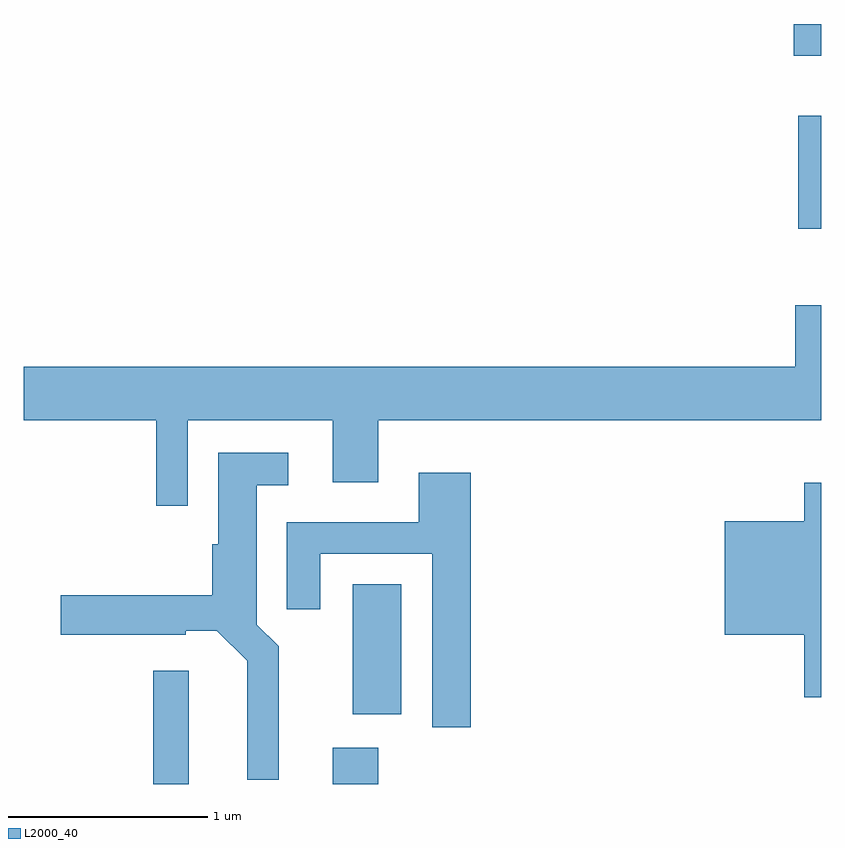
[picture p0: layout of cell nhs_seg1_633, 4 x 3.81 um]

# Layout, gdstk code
import gdstk
lib = gdstk.Library(unit=1e-6, precision=1e-09)
def R(c, l, rs):  # rectangles x0, y0, x1, y1
    for r in rs: c.add(gdstk.rectangle(r[:2], r[2:], *l))
def P(c, l, *ps):  # polygons
    for p in ps: c.add(gdstk.Polygon(p, *l))
L2000_40 = (2000, 40)

nhs_seg1_633 = lib.new_cell('nhs_seg1_633')
R(nhs_seg1_633, L2000_40, [(204.261,937.712,204.439,938.279), (205.161,937.712,205.389,937.894), (205.261,938.061,205.504,938.714), (207.496,940.496,207.611,941.064), (207.473,941.366,207.611,941.524)])
P(nhs_seg1_633, L2000_40, [(204.434,939.536),(205.161,939.536),(205.161,939.226),(205.389,939.226),(205.389,939.536),(207.611,939.536),(207.611,940.114),(207.481,940.114),(207.481,939.804),(203.611,939.804),(203.611,939.536),(204.276,939.536),(204.276,939.108),(204.434,939.108)],
  [(204.889,938.402),(204.779,938.512),(204.779,939.211),(204.938,939.211),(204.938,939.374),(204.586,939.374),(204.586,938.914),(204.556,938.914),(204.556,938.659),(203.796,938.659),(203.796,938.461),(204.424,938.461),(204.424,938.481),(204.579,938.481),(204.731,938.329),(204.731,937.733),(204.889,937.733)],
  [(205.854,939.274),(205.591,939.274),(205.591,939.024),(204.931,939.024),(204.931,938.588),(205.099,938.588),(205.099,938.866),(205.661,938.866),(205.661,937.996),(205.854,937.996)],
  [(207.611,939.224),(207.526,939.224),(207.526,939.029),(207.126,939.029),(207.126,938.461),(207.526,938.461),(207.526,938.146),(207.611,938.146)])

lib.write_gds('nhs_seg1_633.gds')
